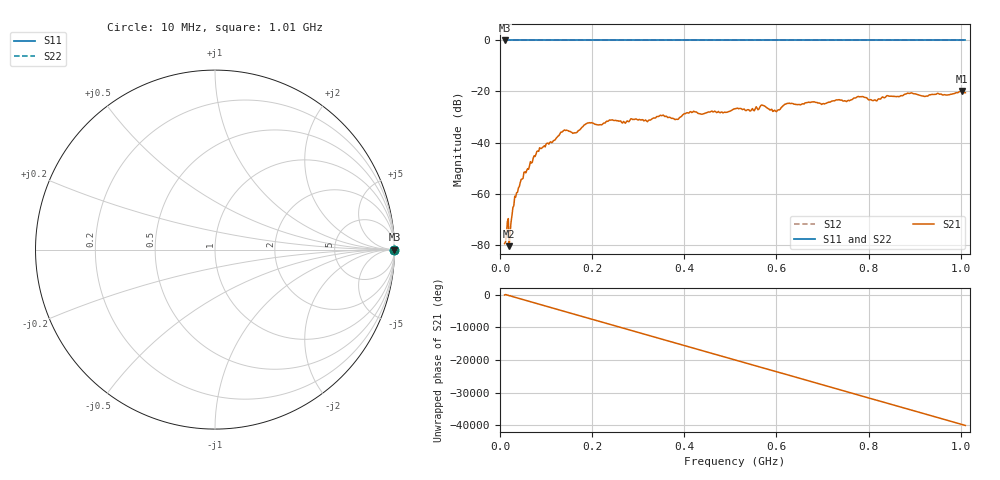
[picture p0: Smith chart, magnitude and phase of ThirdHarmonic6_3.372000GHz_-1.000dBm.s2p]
! 8/17/2025 10:41:57 AM
! C:\ANRITSUVNA\TEMP\TEMP.S2P
! CHANNEL.1
! TR.MEASUREMENT
! RAW.DATA
! RF.CORRECTION.OFF
! AVERAGING.OFF
! IF.BANDWIDTH: 5KHZ
! SWEEPTYPE:  FREQ.SWEEP(Linear)
! Reference Plane Port Info
! PORT:  PORT1  PORT2
! DISTANCE:  0  m  0  m
! TIME:  0  s  0  s
! PHASE.OFFSET:  0  deg.  0  deg.
! LOSS:  0  dB  0  dB
! REF.LOSS:  0  dB  0  dB
! REF.FREQ:  0  Hz  0  Hz
! Power Info
! POWER:  -20  dBm  -20  dBm
! EFF.POWER:  -20  dBm  -20  dBm
! SOURCE.ATTEN:  0  dB  0  dB
! TEST.ATTEN:  0  dB  0  dB
# GHZ S RI R 50.0
! FREQ.GHZ  S11RE  S11IM  S21RE  S21IM  S12RE  S12IM  S22RE  S22IM
!; PortSelection: Port_12
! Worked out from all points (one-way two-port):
!   501 points, 10 MHz to 1.01 GHz, reference 50 ohm
!   highest |S21| = -19.83 dB at 1.002 GHz (marker M1); lowest = -80.6 dB at 20 MHz (marker M2)
!   lowest |S11| = 0.0 dB at 10 MHz (marker M3)
!   |S11| at or under -10 dB: nowhere
!   |S22| runs from 0.0 to 0.0 dB; largest |S21 - S12| = 1.1
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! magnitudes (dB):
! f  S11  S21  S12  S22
! 10 MHz  0.0  -79.6  0.0  0.0
! 14 MHz  0.0  -76.0  0.0  0.0
! 20 MHz  0.0  -80.6  0.0  0.0
! 24 MHz  0.0  -71.1  0.0  0.0
! 32 MHz  0.0  -61.1  0.0  0.0
! 44 MHz  0.0  -55.6  0.0  0.0
! 82 MHz  0.0  -43.3  0.0  0.0
! 136 MHz  0.0  -35.7  0.0  0.0
! 162 MHz  0.0  -36.2  0.0  0.0
! 178 MHz  0.0  -34.0  0.0  0.0
! 194 MHz  0.0  -32.2  0.0  0.0
! 344 MHz  0.0  -29.8  0.0  0.0
! 384 MHz  0.0  -30.9  0.0  0.0
! 416 MHz  0.0  -28.2  0.0  0.0
! 510 MHz  0.0  -26.8  0.0  0.0
! 570 MHz  0.0  -25.4  0.0  0.0
! 596 MHz  0.0  -27.3  0.0  0.0
! 624 MHz  0.0  -24.6  0.0  0.0
! 678 MHz  0.0  -24.1  0.0  0.0
! 844 MHz  0.0  -21.8  0.0  0.0
! 1.002 GHz  0.0  -19.8  0.0  0.0
! 1.01 GHz  0.0  -20.5  0.0  0.0
